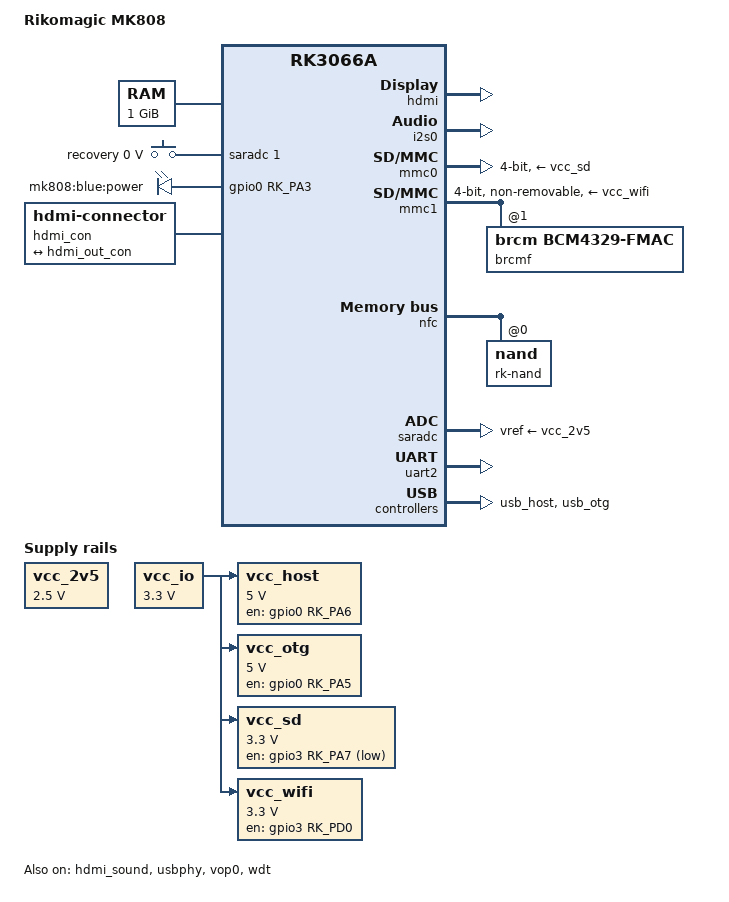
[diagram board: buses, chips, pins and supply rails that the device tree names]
// SPDX-License-Identifier: (GPL-2.0+ OR MIT)
/*
 * Copyright (c) 2016 Paweł Jarosz <paweljarosz3691@gmail.com>
 */

/dts-v1/;
#include <dt-bindings/input/input.h>
#include "rk3066a.dtsi"

/ {
	model = "Rikomagic MK808";
	compatible = "rikomagic,mk808", "rockchip,rk3066a";

	aliases {
		mmc0 = &mmc0;
		mmc1 = &mmc1;
	};

	chosen {
		stdout-path = "serial2:115200n8";
	};

	memory@60000000 {
		reg = <0x60000000 0x40000000>;
		device_type = "memory";
	};

	adc-keys {
		compatible = "adc-keys";
		io-channels = <&saradc 1>;
		io-channel-names = "buttons";
		keyup-threshold-microvolt = <2500000>;
		poll-interval = <100>;

		button-recovery {
			label = "recovery";
			linux,code = <KEY_VENDOR>;
			press-threshold-microvolt = <0>;
		};
	};

	gpio-leds {
		compatible = "gpio-leds";

		blue_led: led-0 {
			label = "mk808:blue:power";
			gpios = <&gpio0 RK_PA3 GPIO_ACTIVE_HIGH>;
			default-state = "off";
			linux,default-trigger = "default-on";
		};
	};

	hdmi_con {
		compatible = "hdmi-connector";
		type = "c";

		port {
			hdmi_con_in: endpoint {
				remote-endpoint = <&hdmi_out_con>;
			};
		};
	};

	vcc_2v5: regulator-vcc-2v5 {
		compatible = "regulator-fixed";
		regulator-name = "vcc_2v5";
		regulator-min-microvolt = <2500000>;
		regulator-max-microvolt = <2500000>;
	};

	vcc_io: regulator-vcc-io {
		compatible = "regulator-fixed";
		regulator-name = "vcc_io";
		regulator-min-microvolt = <3300000>;
		regulator-max-microvolt = <3300000>;
	};

	vcc_host: regulator-usb-host {
		compatible = "regulator-fixed";
		enable-active-high;
		gpio = <&gpio0 RK_PA6 GPIO_ACTIVE_HIGH>;
		pinctrl-0 = <&host_drv>;
		pinctrl-names = "default";
		regulator-always-on;
		regulator-name = "host-pwr";
		regulator-min-microvolt = <5000000>;
		regulator-max-microvolt = <5000000>;
		startup-delay-us = <100000>;
		vin-supply = <&vcc_io>;
	};

	vcc_otg: regulator-usb-otg {
		compatible = "regulator-fixed";
		enable-active-high;
		gpio = <&gpio0 RK_PA5 GPIO_ACTIVE_HIGH>;
		pinctrl-0 = <&otg_drv>;
		pinctrl-names = "default";
		regulator-always-on;
		regulator-name = "vcc_otg";
		regulator-min-microvolt = <5000000>;
		regulator-max-microvolt = <5000000>;
		startup-delay-us = <100000>;
		vin-supply = <&vcc_io>;
	};

	vcc_sd: regulator-sdmmc {
		compatible = "regulator-fixed";
		gpio = <&gpio3 RK_PA7 GPIO_ACTIVE_LOW>;
		pinctrl-0 = <&sdmmc_pwr>;
		pinctrl-names = "default";
		regulator-name = "vcc_sd";
		regulator-min-microvolt = <3300000>;
		regulator-max-microvolt = <3300000>;
		startup-delay-us = <100000>;
		vin-supply = <&vcc_io>;
	};

	vcc_wifi: regulator-sdio {
		compatible = "regulator-fixed";
		enable-active-high;
		gpio = <&gpio3 RK_PD0 GPIO_ACTIVE_HIGH>;
		pinctrl-0 = <&wifi_pwr>;
		pinctrl-names = "default";
		regulator-name = "vcc_wifi";
		regulator-min-microvolt = <3300000>;
		regulator-max-microvolt = <3300000>;
		startup-delay-us = <100000>;
		vin-supply = <&vcc_io>;
	};
};

&hdmi {
	status = "okay";
};

&hdmi_in_vop1 {
	status = "disabled";
};

&hdmi_out {
	hdmi_out_con: endpoint {
		remote-endpoint = <&hdmi_con_in>;
	};
};

&hdmi_sound {
	status = "okay";
};

&i2s0 {
	status = "okay";
};

&mmc0 {
	bus-width = <4>;
	cap-mmc-highspeed;
	cap-sd-highspeed;
	vmmc-supply = <&vcc_sd>;
	status = "okay";
};

&mmc1 {
	bus-width = <4>;
	non-removable;
	pinctrl-0 = <&sd1_clk &sd1_cmd &sd1_bus4>;
	pinctrl-names = "default";
	vmmc-supply = <&vcc_wifi>;
	#address-cells = <1>;
	#size-cells = <0>;
	status = "okay";

	brcmf: wifi@1 {
		compatible = "brcm,bcm4329-fmac";
		reg = <1>;
	};
};

&nfc {
	#address-cells = <1>;
	#size-cells = <0>;
	status = "okay";

	nand@0 {
		reg = <0>;
		label = "rk-nand";
		nand-bus-width = <8>;
		nand-ecc-mode = "hw";
		nand-ecc-step-size = <1024>;
		nand-ecc-strength = <40>;
		nand-is-boot-medium;
		rockchip,boot-blks = <8>;
		rockchip,boot-ecc-strength = <24>;
	};
};

&pinctrl {
	usb-host {
		host_drv: host-drv {
			rockchip,pins = <0 RK_PA6 RK_FUNC_GPIO &pcfg_pull_default>;
		};
	};

	usb-otg {
		otg_drv: otg-drv {
			rockchip,pins = <0 RK_PA5 RK_FUNC_GPIO &pcfg_pull_default>;
		};
	};

	sdmmc {
		sdmmc_pwr: sdmmc-pwr {
			rockchip,pins = <3 RK_PA7 RK_FUNC_GPIO &pcfg_pull_default>;
		};
	};

	sdio {
		wifi_pwr: wifi-pwr {
			rockchip,pins = <3 RK_PD0 RK_FUNC_GPIO &pcfg_pull_none>;
		};
	};
};

&saradc {
	vref-supply = <&vcc_2v5>;
	status = "okay";
};

&uart2 {
	status = "okay";
};

&usb_host {
	status = "okay";
};

&usb_otg {
	status = "okay";
};

&usbphy {
	status = "okay";
};

&vop0 {
	status = "okay";
};

&wdt {
	status = "okay";
};
